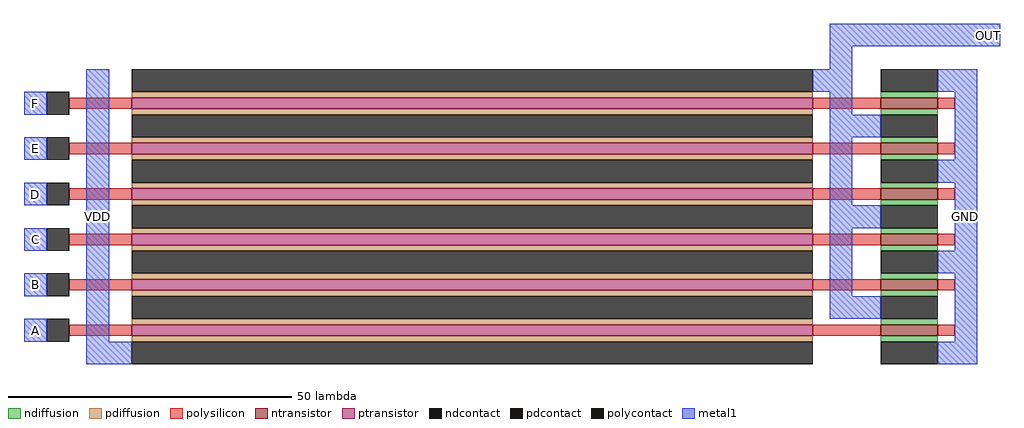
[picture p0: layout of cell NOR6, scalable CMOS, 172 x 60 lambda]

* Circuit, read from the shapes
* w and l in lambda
.subckt NOR6 A B C D E F GND OUT VDD
M1 OUT A GND VSUBS nfet w=10 l=2
M2 GND B OUT VSUBS nfet w=10 l=2
M3 OUT C GND VSUBS nfet w=10 l=2
M4 GND D OUT VSUBS nfet w=10 l=2
M5 OUT E GND VSUBS nfet w=10 l=2
M6 GND F OUT VSUBS nfet w=10 l=2
M7 n1 A VDD NWELL pfet w=120 l=2
M8 n2 B n1 NWELL pfet w=120 l=2
M9 n3 C n2 NWELL pfet w=120 l=2
M10 n4 D n3 NWELL pfet w=120 l=2
M11 n5 E n4 NWELL pfet w=120 l=2
M12 OUT F n5 NWELL pfet w=120 l=2
.ends

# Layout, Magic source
magic
tech scmos
<< ntransistor >>
rect 151 34 161 36
rect 151 26 161 28
rect 151 18 161 20
rect 151 10 161 12
rect 151 2 161 4
rect 151 -6 161 -4
<< ptransistor >>
rect 19 34 139 36
rect 19 26 139 28
rect 19 18 139 20
rect 19 10 139 12
rect 19 2 139 4
rect 19 -6 139 -4
<< ndiffusion >>
rect 151 36 161 37
rect 151 33 161 34
rect 151 28 161 29
rect 151 25 161 26
rect 151 20 161 21
rect 151 17 161 18
rect 151 12 161 13
rect 151 9 161 10
rect 151 4 161 5
rect 151 1 161 2
rect 151 -4 161 -3
rect 151 -7 161 -6
<< pdiffusion >>
rect 19 36 139 37
rect 19 33 139 34
rect 19 28 139 29
rect 19 25 139 26
rect 19 20 139 21
rect 19 17 139 18
rect 19 12 139 13
rect 19 9 139 10
rect 19 4 139 5
rect 19 1 139 2
rect 19 -4 139 -3
rect 19 -7 139 -6
<< ndcontact >>
rect 151 37 161 41
rect 151 29 161 33
rect 151 21 161 25
rect 151 13 161 17
rect 151 5 161 9
rect 151 -3 161 1
rect 151 -11 161 -7
<< pdcontact >>
rect 19 37 139 41
rect 19 29 139 33
rect 19 21 139 25
rect 19 13 139 17
rect 19 5 139 9
rect 19 -3 139 1
rect 19 -11 139 -7
<< polysilicon >>
rect 8 34 19 36
rect 139 34 151 36
rect 161 34 164 36
rect 8 26 19 28
rect 139 26 151 28
rect 161 26 164 28
rect 8 18 19 20
rect 139 18 151 20
rect 161 18 164 20
rect 8 10 19 12
rect 139 10 151 12
rect 161 10 164 12
rect 8 2 19 4
rect 139 2 151 4
rect 161 2 164 4
rect 8 -6 19 -4
rect 139 -6 151 -4
rect 161 -6 164 -4
<< polycontact >>
rect 4 33 8 37
rect 4 25 8 29
rect 4 17 8 21
rect 4 9 8 13
rect 4 1 8 5
rect 4 -7 8 -3
<< metal1 >>
rect 142 45 172 49
rect 142 41 146 45
rect 0 33 4 37
rect 0 25 4 29
rect 0 17 4 21
rect 0 9 4 13
rect 0 1 4 5
rect 0 -7 4 -3
rect 11 -7 15 41
rect 139 37 146 41
rect 161 37 168 41
rect 142 33 146 37
rect 142 29 151 33
rect 142 17 146 29
rect 164 25 168 37
rect 161 21 168 25
rect 142 13 151 17
rect 142 1 146 13
rect 164 9 168 21
rect 161 5 168 9
rect 142 -3 151 1
rect 164 -7 168 5
rect 11 -11 19 -7
rect 161 -11 168 -7
<< labels >>
rlabel metal1 11 -11 15 41 3 VDD
rlabel metal1 164 -11 168 41 7 GND
rlabel metal1 168 45 172 49 6 OUT
rlabel metal1 0 -7 4 -3 3 A
rlabel metal1 0 1 4 5 3 B
rlabel metal1 0 9 4 13 3 C
rlabel metal1 0 17 4 21 3 D
rlabel metal1 0 25 4 29 3 E
rlabel metal1 0 33 4 37 3 F
<< end >>
